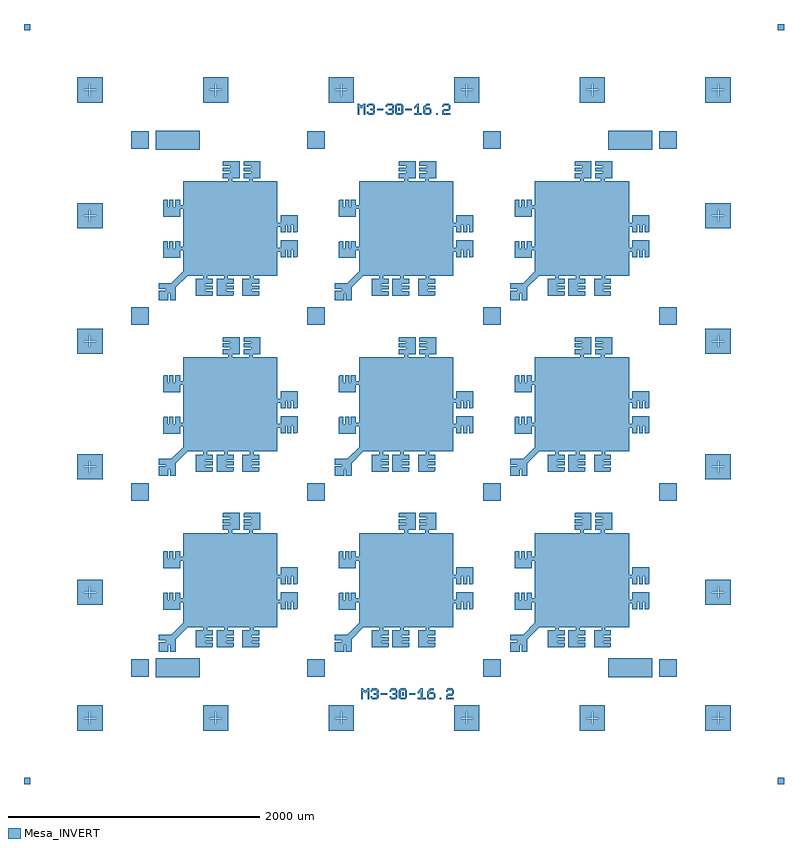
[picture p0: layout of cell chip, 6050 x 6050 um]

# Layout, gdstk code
import gdstk
lib = gdstk.Library(unit=1e-6, precision=1e-09)
def R(c, l, rs):  # rectangles x0, y0, x1, y1
    for r in rs: c.add(gdstk.rectangle(r[:2], r[2:], *l))
def P(c, l, *ps):  # polygons
    for p in ps: c.add(gdstk.Polygon(p, *l))
Mesa_INVERT = (9, 0)

text = lib.new_cell('TEXT')
R(text, Mesa_INVERT, [(625,0,637.5,12.5), (325,31.25,337.5,56.25), (156.25,37.5,206.25,50), (381.25,37.5,431.25,50)])
P(text, Mesa_INVERT, [(0,0),(0,87.5),(12.5,87.5),(25,75),(37.5,75),(50,87.5),(62.5,87.5),(62.5,0),(50,0),(50,62.5),(43.75,62.5),(31.25,50),(18.75,62.5),(12.5,62.5),(12.5,0)],
  [(87.5,0),(75,12.5),(75,25),(87.5,25),(87.5,18.75),(93.75,12.5),(118.75,12.5),(125,18.75),(125,31.25),(118.75,37.5),(100,37.5),(100,50),(118.75,50),(125,56.25),(125,68.75),(118.75,75),(93.75,75),(87.5,68.75),(87.5,62.5),(75,62.5),(75,75),(87.5,87.5),(125,87.5),(137.5,75),(137.5,50),(131.25,43.75),(137.5,37.5),(137.5,12.5),(125,0)],
  [(237.5,0),(225,12.5),(225,25),(237.5,25),(237.5,18.75),(243.75,12.5),(268.75,12.5),(275,18.75),(275,31.25),(268.75,37.5),(250,37.5),(250,50),(268.75,50),(275,56.25),(275,68.75),(268.75,75),(243.75,75),(237.5,68.75),(237.5,62.5),(225,62.5),(225,75),(237.5,87.5),(275,87.5),(287.5,75),(287.5,50),(281.25,43.75),(287.5,37.5),(287.5,12.5),(275,0)],
  [(312.5,0),(300,12.5),(300,75),(312.5,87.5),(350,87.5),(362.5,75),(318.75,75),(312.5,68.75),(312.5,18.75),(318.75,12.5),(343.75,12.5),(350,18.75),(350,68.75),(343.75,75),(362.5,75),(362.5,12.5),(350,0)],
  [(450,0),(450,12.5),(475,12.5),(475,62.5),(468.75,62.5),(456.25,50),(450,50),(450,62.5),(475,87.5),(487.5,87.5),(487.5,12.5),(512.5,12.5),(512.5,0)],
  [(537.5,0),(525,12.5),(525,62.5),(550,87.5),(575,87.5),(575,75),(556.25,75),(543.75,62.5),(543.75,56.25),(575,56.25),(587.5,43.75),(543.75,43.75),(537.5,37.5),(537.5,18.75),(543.75,12.5),(568.75,12.5),(575,18.75),(575,37.5),(568.75,43.75),(587.5,43.75),(587.5,12.5),(575,0)],
  [(675,0),(675,31.25),(687.5,43.75),(718.75,43.75),(725,50),(725,68.75),(718.75,75),(693.75,75),(687.5,68.75),(687.5,62.5),(675,62.5),(675,75),(687.5,87.5),(725,87.5),(737.5,75),(737.5,43.75),(725,31.25),(693.75,31.25),(687.5,25),(687.5,12.5),(737.5,12.5),(737.5,0)])

experimentalohmics_3 = lib.new_cell('ExperimentalOhmics$3')

test_mesas = lib.new_cell('test_mesas')
R(test_mesas, Mesa_INVERT, [(-175,-75,175,75)])

c_50umsquares = lib.new_cell('50umSquares')

chip = lib.new_cell('chip')
R(chip, Mesa_INVERT, [(-3025,-3025,-2975,-2975), (2975,-3025,3025,-2975), (-3025,2975,-2975,3025), (2975,2975,3025,3025)])
P(chip, Mesa_INVERT, [(-2600,-600),(-2600,-450),(-2504,-450),(-2504,-496),(-2550,-496),(-2550,-504),(-2504,-504),(-2504,-550),(-2496,-550),(-2496,-504),(-2450,-504),(-2450,-496),(-2496,-496),(-2496,-450),(-2600,-450),(-2600,-400),(-2400,-400),(-2400,-600)],
  [(2400,-2600),(2400,-2450),(2496,-2450),(2496,-2496),(2450,-2496),(2450,-2504),(2496,-2504),(2496,-2550),(2504,-2550),(2504,-2504),(2550,-2504),(2550,-2496),(2504,-2496),(2504,-2450),(2400,-2450),(2400,-2400),(2600,-2400),(2600,-2600)],
  [(-2600,-2600),(-2600,-2450),(-2504,-2450),(-2504,-2496),(-2550,-2496),(-2550,-2504),(-2504,-2504),(-2504,-2550),(-2496,-2550),(-2496,-2504),(-2450,-2504),(-2450,-2496),(-2496,-2496),(-2496,-2450),(-2600,-2450),(-2600,-2400),(-2400,-2400),(-2400,-2600)],
  [(-2600,-1600),(-2600,-1450),(-2504,-1450),(-2504,-1496),(-2550,-1496),(-2550,-1504),(-2504,-1504),(-2504,-1550),(-2496,-1550),(-2496,-1504),(-2450,-1504),(-2450,-1496),(-2496,-1496),(-2496,-1450),(-2600,-1450),(-2600,-1400),(-2400,-1400),(-2400,-1600)],
  [(2400,-1600),(2400,-1450),(2496,-1450),(2496,-1496),(2450,-1496),(2450,-1504),(2496,-1504),(2496,-1550),(2504,-1550),(2504,-1504),(2550,-1504),(2550,-1496),(2504,-1496),(2504,-1450),(2400,-1450),(2400,-1400),(2600,-1400),(2600,-1600)],
  [(2400,-600),(2400,-450),(2496,-450),(2496,-496),(2450,-496),(2450,-504),(2496,-504),(2496,-550),(2504,-550),(2504,-504),(2550,-504),(2550,-496),(2504,-496),(2504,-450),(2400,-450),(2400,-400),(2600,-400),(2600,-600)],
  [(-2600,400),(-2600,550),(-2504,550),(-2504,504),(-2550,504),(-2550,496),(-2504,496),(-2504,450),(-2496,450),(-2496,496),(-2450,496),(-2450,504),(-2496,504),(-2496,550),(-2600,550),(-2600,600),(-2400,600),(-2400,400)],
  [(2400,400),(2400,550),(2496,550),(2496,504),(2450,504),(2450,496),(2496,496),(2496,450),(2504,450),(2504,496),(2550,496),(2550,504),(2504,504),(2504,550),(2400,550),(2400,600),(2600,600),(2600,400)],
  [(-2600,1400),(-2600,1550),(-2504,1550),(-2504,1504),(-2550,1504),(-2550,1496),(-2504,1496),(-2504,1450),(-2496,1450),(-2496,1496),(-2450,1496),(-2450,1504),(-2496,1504),(-2496,1550),(-2600,1550),(-2600,1600),(-2400,1600),(-2400,1400)],
  [(2400,1400),(2400,1550),(2496,1550),(2496,1504),(2450,1504),(2450,1496),(2496,1496),(2496,1450),(2504,1450),(2504,1496),(2550,1496),(2550,1504),(2504,1504),(2504,1550),(2400,1550),(2400,1600),(2600,1600),(2600,1400)],
  [(-2600,2400),(-2600,2550),(-2504,2550),(-2504,2504),(-2550,2504),(-2550,2496),(-2504,2496),(-2504,2450),(-2496,2450),(-2496,2496),(-2450,2496),(-2450,2504),(-2496,2504),(-2496,2550),(-2600,2550),(-2600,2600),(-2400,2600),(-2400,2400)],
  [(2400,2400),(2400,2550),(2496,2550),(2496,2504),(2450,2504),(2450,2496),(2496,2496),(2496,2450),(2504,2450),(2504,2496),(2550,2496),(2550,2504),(2504,2504),(2504,2550),(2400,2550),(2400,2600),(2600,2600),(2600,2400)],
  [(-1600,-2600),(-1600,-2450),(-1504,-2450),(-1504,-2496),(-1550,-2496),(-1550,-2504),(-1504,-2504),(-1504,-2550),(-1496,-2550),(-1496,-2504),(-1450,-2504),(-1450,-2496),(-1496,-2496),(-1496,-2450),(-1600,-2450),(-1600,-2400),(-1400,-2400),(-1400,-2600)],
  [(-600,-2600),(-600,-2450),(-504,-2450),(-504,-2496),(-550,-2496),(-550,-2504),(-504,-2504),(-504,-2550),(-496,-2550),(-496,-2504),(-450,-2504),(-450,-2496),(-496,-2496),(-496,-2450),(-600,-2450),(-600,-2400),(-400,-2400),(-400,-2600)],
  [(400,-2600),(400,-2450),(496,-2450),(496,-2496),(450,-2496),(450,-2504),(496,-2504),(496,-2550),(504,-2550),(504,-2504),(550,-2504),(550,-2496),(504,-2496),(504,-2450),(400,-2450),(400,-2400),(600,-2400),(600,-2600)],
  [(1400,-2600),(1400,-2450),(1496,-2450),(1496,-2496),(1450,-2496),(1450,-2504),(1496,-2504),(1496,-2550),(1504,-2550),(1504,-2504),(1550,-2504),(1550,-2496),(1504,-2496),(1504,-2450),(1400,-2450),(1400,-2400),(1600,-2400),(1600,-2600)],
  [(-2600,2400),(-2600,2550),(-2504,2550),(-2504,2504),(-2550,2504),(-2550,2496),(-2504,2496),(-2504,2450),(-2496,2450),(-2496,2496),(-2450,2496),(-2450,2504),(-2496,2504),(-2496,2550),(-2600,2550),(-2600,2600),(-2400,2600),(-2400,2400)],
  [(-1600,2400),(-1600,2550),(-1504,2550),(-1504,2504),(-1550,2504),(-1550,2496),(-1504,2496),(-1504,2450),(-1496,2450),(-1496,2496),(-1450,2496),(-1450,2504),(-1496,2504),(-1496,2550),(-1600,2550),(-1600,2600),(-1400,2600),(-1400,2400)],
  [(-600,2400),(-600,2550),(-504,2550),(-504,2504),(-550,2504),(-550,2496),(-504,2496),(-504,2450),(-496,2450),(-496,2496),(-450,2496),(-450,2504),(-496,2504),(-496,2550),(-600,2550),(-600,2600),(-400,2600),(-400,2400)],
  [(400,2400),(400,2550),(496,2550),(496,2504),(450,2504),(450,2496),(496,2496),(496,2450),(504,2450),(504,2496),(550,2496),(550,2504),(504,2504),(504,2550),(400,2550),(400,2600),(600,2600),(600,2400)],
  [(1400,2400),(1400,2550),(1496,2550),(1496,2504),(1450,2504),(1450,2496),(1496,2496),(1496,2450),(1504,2450),(1504,2496),(1550,2496),(1550,2504),(1504,2504),(1504,2550),(1400,2550),(1400,2600),(1600,2600),(1600,2400)],
  [(-770,-2170),(-770,-2050),(-700.375,-2050),(-700.375,-2098),(-748.375,-2098),(-748.375,-2102),(-700.375,-2102),(-700.375,-2150),(-696.375,-2150),(-696.375,-2102),(-648.375,-2102),(-648.375,-2098),(-696.375,-2098),(-696.375,-2050),(-770,-2050),(-770,-2030),(-630,-2030),(-630,-2170)],
  [(-2170,-2170),(-2170,-2050),(-2100.375,-2050),(-2100.375,-2098),(-2148.375,-2098),(-2148.375,-2102),(-2100.375,-2102),(-2100.375,-2150),(-2096.375,-2150),(-2096.375,-2102),(-2048.375,-2102),(-2048.375,-2098),(-2096.375,-2098),(-2096.375,-2050),(-2170,-2050),(-2170,-2030),(-2030,-2030),(-2030,-2170)],
  [(630,-2170),(630,-2050),(699.625,-2050),(699.625,-2098),(651.625,-2098),(651.625,-2102),(699.625,-2102),(699.625,-2150),(703.625,-2150),(703.625,-2102),(751.625,-2102),(751.625,-2098),(703.625,-2098),(703.625,-2050),(630,-2050),(630,-2030),(770,-2030),(770,-2170)],
  [(2030,-2170),(2030,-2050),(2099.625,-2050),(2099.625,-2098),(2051.625,-2098),(2051.625,-2102),(2099.625,-2102),(2099.625,-2150),(2103.625,-2150),(2103.625,-2102),(2151.625,-2102),(2151.625,-2098),(2103.625,-2098),(2103.625,-2050),(2030,-2050),(2030,-2030),(2170,-2030),(2170,-2170)],
  [(-2170,-770),(-2170,-650),(-2100.375,-650),(-2100.375,-698),(-2148.375,-698),(-2148.375,-702),(-2100.375,-702),(-2100.375,-750),(-2096.375,-750),(-2096.375,-702),(-2048.375,-702),(-2048.375,-698),(-2096.375,-698),(-2096.375,-650),(-2170,-650),(-2170,-630),(-2030,-630),(-2030,-770)],
  [(-770,-770),(-770,-650),(-700.375,-650),(-700.375,-698),(-748.375,-698),(-748.375,-702),(-700.375,-702),(-700.375,-750),(-696.375,-750),(-696.375,-702),(-648.375,-702),(-648.375,-698),(-696.375,-698),(-696.375,-650),(-770,-650),(-770,-630),(-630,-630),(-630,-770)],
  [(630,-770),(630,-650),(699.625,-650),(699.625,-698),(651.625,-698),(651.625,-702),(699.625,-702),(699.625,-750),(703.625,-750),(703.625,-702),(751.625,-702),(751.625,-698),(703.625,-698),(703.625,-650),(630,-650),(630,-630),(770,-630),(770,-770)],
  [(2030,-770),(2030,-650),(2099.625,-650),(2099.625,-698),(2051.625,-698),(2051.625,-702),(2099.625,-702),(2099.625,-750),(2103.625,-750),(2103.625,-702),(2151.625,-702),(2151.625,-698),(2103.625,-698),(2103.625,-650),(2030,-650),(2030,-630),(2170,-630),(2170,-770)],
  [(-2170,630),(-2170,750),(-2100.375,750),(-2100.375,702),(-2148.375,702),(-2148.375,698),(-2100.375,698),(-2100.375,650),(-2096.375,650),(-2096.375,698),(-2048.375,698),(-2048.375,702),(-2096.375,702),(-2096.375,750),(-2170,750),(-2170,770),(-2030,770),(-2030,630)],
  [(-770,630),(-770,750),(-700.375,750),(-700.375,702),(-748.375,702),(-748.375,698),(-700.375,698),(-700.375,650),(-696.375,650),(-696.375,698),(-648.375,698),(-648.375,702),(-696.375,702),(-696.375,750),(-770,750),(-770,770),(-630,770),(-630,630)],
  [(630,630),(630,750),(699.625,750),(699.625,702),(651.625,702),(651.625,698),(699.625,698),(699.625,650),(703.625,650),(703.625,698),(751.625,698),(751.625,702),(703.625,702),(703.625,750),(630,750),(630,770),(770,770),(770,630)],
  [(2030,630),(2030,750),(2099.625,750),(2099.625,702),(2051.625,702),(2051.625,698),(2099.625,698),(2099.625,650),(2103.625,650),(2103.625,698),(2151.625,698),(2151.625,702),(2103.625,702),(2103.625,750),(2030,750),(2030,770),(2170,770),(2170,630)],
  [(-2170,2030),(-2170,2150),(-2100.375,2150),(-2100.375,2102),(-2148.375,2102),(-2148.375,2098),(-2100.375,2098),(-2100.375,2050),(-2096.375,2050),(-2096.375,2098),(-2048.375,2098),(-2048.375,2102),(-2096.375,2102),(-2096.375,2150),(-2170,2150),(-2170,2170),(-2030,2170),(-2030,2030)],
  [(-770,2030),(-770,2150),(-700.375,2150),(-700.375,2102),(-748.375,2102),(-748.375,2098),(-700.375,2098),(-700.375,2050),(-696.375,2050),(-696.375,2098),(-648.375,2098),(-648.375,2102),(-696.375,2102),(-696.375,2150),(-770,2150),(-770,2170),(-630,2170),(-630,2030)],
  [(630,2030),(630,2150),(699.625,2150),(699.625,2102),(651.625,2102),(651.625,2098),(699.625,2098),(699.625,2050),(703.625,2050),(703.625,2098),(751.625,2098),(751.625,2102),(703.625,2102),(703.625,2150),(630,2150),(630,2170),(770,2170),(770,2030)],
  [(2030,2030),(2030,2150),(2099.625,2150),(2099.625,2102),(2051.625,2102),(2051.625,2098),(2099.625,2098),(2099.625,2050),(2103.625,2050),(2103.625,2098),(2151.625,2098),(2151.625,2102),(2103.625,2102),(2103.625,2150),(2030,2150),(2030,2170),(2170,2170),(2170,2030)],
  [(-1952.5,-1972.5),(-1952.5,-1897.5),(-1897.5,-1897.5),(-1897.5,-1882.5),(-1952.5,-1882.5),(-1952.5,-1837.5),(-1852.5,-1837.5),(-1757.5,-1742.5),(-1757.5,-1577.5),(-1782.5,-1577.5),(-1782.5,-1637.5),(-1917.5,-1637.5),(-1917.5,-1507.5),(-1912.5,-1502.5),(-1882.5,-1502.5),(-1882.5,-1562.5),(-1867.5,-1562.5),(-1867.5,-1502.5),(-1837.5,-1502.5),(-1837.5,-1562.5),(-1822.5,-1562.5),(-1822.5,-1502.5),(-1782.5,-1502.5),(-1782.5,-1547.5),(-1757.5,-1547.5),(-1757.5,-1247.5),(-1782.5,-1247.5),(-1782.5,-1307.5),(-1917.5,-1307.5),(-1917.5,-1177.5),(-1912.5,-1172.5),(-1882.5,-1172.5),(-1882.5,-1232.5),(-1867.5,-1232.5),(-1867.5,-1172.5),(-1837.5,-1172.5),(-1837.5,-1232.5),(-1822.5,-1232.5),(-1822.5,-1172.5),(-1782.5,-1172.5),(-1782.5,-1217.5),(-1757.5,-1217.5),(-1757.5,-1027.5),(-1397.5,-1027.5),(-1397.5,-1002.5),(-1442.5,-1002.5),(-1442.5,-962.5),(-1382.5,-962.5),(-1382.5,-947.5),(-1442.5,-947.5),(-1442.5,-917.5),(-1382.5,-917.5),(-1382.5,-902.5),(-1442.5,-902.5),(-1442.5,-872.5),(-1437.5,-867.5),(-1307.5,-867.5),(-1307.5,-1002.5),(-1367.5,-1002.5),(-1367.5,-1027.5),(-1232.5,-1027.5),(-1232.5,-1002.5),(-1277.5,-1002.5),(-1277.5,-962.5),(-1217.5,-962.5),(-1217.5,-947.5),(-1277.5,-947.5),(-1277.5,-917.5),(-1217.5,-917.5),(-1217.5,-902.5),(-1277.5,-902.5),(-1277.5,-872.5),(-1272.5,-867.5),(-1142.5,-867.5),(-1142.5,-1002.5),(-1202.5,-1002.5),(-1202.5,-1027.5),(-1007.5,-1027.5),(-1007.5,-1358.092),(-982.5,-1358.092),(-982.5,-1298.092),(-847.5,-1298.092),(-847.5,-1428.092),(-852.5,-1433.092),(-882.5,-1433.092),(-882.5,-1373.092),(-897.5,-1373.092),(-897.5,-1433.092),(-927.5,-1433.092),(-927.5,-1373.092),(-942.5,-1373.092),(-942.5,-1433.092),(-982.5,-1433.092),(-982.5,-1388.092),(-1007.5,-1388.092),(-1007.5,-1557.5),(-982.5,-1557.5),(-982.5,-1497.5),(-847.5,-1497.5),(-847.5,-1627.5),(-852.5,-1632.5),(-882.5,-1632.5),(-882.5,-1572.5),(-897.5,-1572.5),(-897.5,-1632.5),(-927.5,-1632.5),(-927.5,-1572.5),(-942.5,-1572.5),(-942.5,-1632.5),(-982.5,-1632.5),(-982.5,-1587.5),(-1007.5,-1587.5),(-1007.5,-1777.5),(-1197.5,-1777.5),(-1197.5,-1802.5),(-1152.5,-1802.5),(-1152.5,-1842.5),(-1212.5,-1842.5),(-1212.5,-1857.5),(-1152.5,-1857.5),(-1152.5,-1887.5),(-1212.5,-1887.5),(-1212.5,-1902.5),(-1152.5,-1902.5),(-1152.5,-1932.5),(-1157.5,-1937.5),(-1287.5,-1937.5),(-1287.5,-1802.5),(-1227.5,-1802.5),(-1227.5,-1777.5),(-1401.637,-1777.5),(-1401.637,-1802.5),(-1356.637,-1802.5),(-1356.637,-1842.5),(-1416.637,-1842.5),(-1416.637,-1857.5),(-1356.637,-1857.5),(-1356.637,-1887.5),(-1416.637,-1887.5),(-1416.637,-1902.5),(-1356.637,-1902.5),(-1356.637,-1932.5),(-1361.637,-1937.5),(-1491.637,-1937.5),(-1491.637,-1802.5),(-1431.637,-1802.5),(-1431.637,-1777.5),(-1566.637,-1777.5),(-1566.637,-1802.5),(-1521.637,-1802.5),(-1521.637,-1842.5),(-1581.637,-1842.5),(-1581.637,-1857.5),(-1521.637,-1857.5),(-1521.637,-1887.5),(-1581.637,-1887.5),(-1581.637,-1902.5),(-1521.637,-1902.5),(-1521.637,-1932.5),(-1526.637,-1937.5),(-1656.637,-1937.5),(-1656.637,-1802.5),(-1596.637,-1802.5),(-1596.637,-1777.5),(-1722.5,-1777.5),(-1817.5,-1872.5),(-1817.5,-1972.5),(-1862.5,-1972.5),(-1862.5,-1917.5),(-1877.5,-1917.5),(-1877.5,-1972.5)],
  [(-552.5,-1972.5),(-552.5,-1897.5),(-497.5,-1897.5),(-497.5,-1882.5),(-552.5,-1882.5),(-552.5,-1837.5),(-452.5,-1837.5),(-357.5,-1742.5),(-357.5,-1577.5),(-382.5,-1577.5),(-382.5,-1637.5),(-517.5,-1637.5),(-517.5,-1507.5),(-512.5,-1502.5),(-482.5,-1502.5),(-482.5,-1562.5),(-467.5,-1562.5),(-467.5,-1502.5),(-437.5,-1502.5),(-437.5,-1562.5),(-422.5,-1562.5),(-422.5,-1502.5),(-382.5,-1502.5),(-382.5,-1547.5),(-357.5,-1547.5),(-357.5,-1247.5),(-382.5,-1247.5),(-382.5,-1307.5),(-517.5,-1307.5),(-517.5,-1177.5),(-512.5,-1172.5),(-482.5,-1172.5),(-482.5,-1232.5),(-467.5,-1232.5),(-467.5,-1172.5),(-437.5,-1172.5),(-437.5,-1232.5),(-422.5,-1232.5),(-422.5,-1172.5),(-382.5,-1172.5),(-382.5,-1217.5),(-357.5,-1217.5),(-357.5,-1027.5),(2.5,-1027.5),(2.5,-1002.5),(-42.5,-1002.5),(-42.5,-962.5),(17.5,-962.5),(17.5,-947.5),(-42.5,-947.5),(-42.5,-917.5),(17.5,-917.5),(17.5,-902.5),(-42.5,-902.5),(-42.5,-872.5),(-37.5,-867.5),(92.5,-867.5),(92.5,-1002.5),(32.5,-1002.5),(32.5,-1027.5),(167.5,-1027.5),(167.5,-1002.5),(122.5,-1002.5),(122.5,-962.5),(182.5,-962.5),(182.5,-947.5),(122.5,-947.5),(122.5,-917.5),(182.5,-917.5),(182.5,-902.5),(122.5,-902.5),(122.5,-872.5),(127.5,-867.5),(257.5,-867.5),(257.5,-1002.5),(197.5,-1002.5),(197.5,-1027.5),(392.5,-1027.5),(392.5,-1358.092),(417.5,-1358.092),(417.5,-1298.092),(552.5,-1298.092),(552.5,-1428.092),(547.5,-1433.092),(517.5,-1433.092),(517.5,-1373.092),(502.5,-1373.092),(502.5,-1433.092),(472.5,-1433.092),(472.5,-1373.092),(457.5,-1373.092),(457.5,-1433.092),(417.5,-1433.092),(417.5,-1388.092),(392.5,-1388.092),(392.5,-1557.5),(417.5,-1557.5),(417.5,-1497.5),(552.5,-1497.5),(552.5,-1627.5),(547.5,-1632.5),(517.5,-1632.5),(517.5,-1572.5),(502.5,-1572.5),(502.5,-1632.5),(472.5,-1632.5),(472.5,-1572.5),(457.5,-1572.5),(457.5,-1632.5),(417.5,-1632.5),(417.5,-1587.5),(392.5,-1587.5),(392.5,-1777.5),(202.5,-1777.5),(202.5,-1802.5),(247.5,-1802.5),(247.5,-1842.5),(187.5,-1842.5),(187.5,-1857.5),(247.5,-1857.5),(247.5,-1887.5),(187.5,-1887.5),(187.5,-1902.5),(247.5,-1902.5),(247.5,-1932.5),(242.5,-1937.5),(112.5,-1937.5),(112.5,-1802.5),(172.5,-1802.5),(172.5,-1777.5),(-1.637,-1777.5),(-1.637,-1802.5),(43.363,-1802.5),(43.363,-1842.5),(-16.637,-1842.5),(-16.637,-1857.5),(43.363,-1857.5),(43.363,-1887.5),(-16.637,-1887.5),(-16.637,-1902.5),(43.363,-1902.5),(43.363,-1932.5),(38.363,-1937.5),(-91.637,-1937.5),(-91.637,-1802.5),(-31.637,-1802.5),(-31.637,-1777.5),(-166.637,-1777.5),(-166.637,-1802.5),(-121.637,-1802.5),(-121.637,-1842.5),(-181.637,-1842.5),(-181.637,-1857.5),(-121.637,-1857.5),(-121.637,-1887.5),(-181.637,-1887.5),(-181.637,-1902.5),(-121.637,-1902.5),(-121.637,-1932.5),(-126.637,-1937.5),(-256.637,-1937.5),(-256.637,-1802.5),(-196.637,-1802.5),(-196.637,-1777.5),(-322.5,-1777.5),(-417.5,-1872.5),(-417.5,-1972.5),(-462.5,-1972.5),(-462.5,-1917.5),(-477.5,-1917.5),(-477.5,-1972.5)],
  [(847.5,-1972.5),(847.5,-1897.5),(902.5,-1897.5),(902.5,-1882.5),(847.5,-1882.5),(847.5,-1837.5),(947.5,-1837.5),(1042.5,-1742.5),(1042.5,-1577.5),(1017.5,-1577.5),(1017.5,-1637.5),(882.5,-1637.5),(882.5,-1507.5),(887.5,-1502.5),(917.5,-1502.5),(917.5,-1562.5),(932.5,-1562.5),(932.5,-1502.5),(962.5,-1502.5),(962.5,-1562.5),(977.5,-1562.5),(977.5,-1502.5),(1017.5,-1502.5),(1017.5,-1547.5),(1042.5,-1547.5),(1042.5,-1247.5),(1017.5,-1247.5),(1017.5,-1307.5),(882.5,-1307.5),(882.5,-1177.5),(887.5,-1172.5),(917.5,-1172.5),(917.5,-1232.5),(932.5,-1232.5),(932.5,-1172.5),(962.5,-1172.5),(962.5,-1232.5),(977.5,-1232.5),(977.5,-1172.5),(1017.5,-1172.5),(1017.5,-1217.5),(1042.5,-1217.5),(1042.5,-1027.5),(1402.5,-1027.5),(1402.5,-1002.5),(1357.5,-1002.5),(1357.5,-962.5),(1417.5,-962.5),(1417.5,-947.5),(1357.5,-947.5),(1357.5,-917.5),(1417.5,-917.5),(1417.5,-902.5),(1357.5,-902.5),(1357.5,-872.5),(1362.5,-867.5),(1492.5,-867.5),(1492.5,-1002.5),(1432.5,-1002.5),(1432.5,-1027.5),(1567.5,-1027.5),(1567.5,-1002.5),(1522.5,-1002.5),(1522.5,-962.5),(1582.5,-962.5),(1582.5,-947.5),(1522.5,-947.5),(1522.5,-917.5),(1582.5,-917.5),(1582.5,-902.5),(1522.5,-902.5),(1522.5,-872.5),(1527.5,-867.5),(1657.5,-867.5),(1657.5,-1002.5),(1597.5,-1002.5),(1597.5,-1027.5),(1792.5,-1027.5),(1792.5,-1358.092),(1817.5,-1358.092),(1817.5,-1298.092),(1952.5,-1298.092),(1952.5,-1428.092),(1947.5,-1433.092),(1917.5,-1433.092),(1917.5,-1373.092),(1902.5,-1373.092),(1902.5,-1433.092),(1872.5,-1433.092),(1872.5,-1373.092),(1857.5,-1373.092),(1857.5,-1433.092),(1817.5,-1433.092),(1817.5,-1388.092),(1792.5,-1388.092),(1792.5,-1557.5),(1817.5,-1557.5),(1817.5,-1497.5),(1952.5,-1497.5),(1952.5,-1627.5),(1947.5,-1632.5),(1917.5,-1632.5),(1917.5,-1572.5),(1902.5,-1572.5),(1902.5,-1632.5),(1872.5,-1632.5),(1872.5,-1572.5),(1857.5,-1572.5),(1857.5,-1632.5),(1817.5,-1632.5),(1817.5,-1587.5),(1792.5,-1587.5),(1792.5,-1777.5),(1602.5,-1777.5),(1602.5,-1802.5),(1647.5,-1802.5),(1647.5,-1842.5),(1587.5,-1842.5),(1587.5,-1857.5),(1647.5,-1857.5),(1647.5,-1887.5),(1587.5,-1887.5),(1587.5,-1902.5),(1647.5,-1902.5),(1647.5,-1932.5),(1642.5,-1937.5),(1512.5,-1937.5),(1512.5,-1802.5),(1572.5,-1802.5),(1572.5,-1777.5),(1398.363,-1777.5),(1398.363,-1802.5),(1443.363,-1802.5),(1443.363,-1842.5),(1383.363,-1842.5),(1383.363,-1857.5),(1443.363,-1857.5),(1443.363,-1887.5),(1383.363,-1887.5),(1383.363,-1902.5),(1443.363,-1902.5),(1443.363,-1932.5),(1438.363,-1937.5),(1308.363,-1937.5),(1308.363,-1802.5),(1368.363,-1802.5),(1368.363,-1777.5),(1233.363,-1777.5),(1233.363,-1802.5),(1278.363,-1802.5),(1278.363,-1842.5),(1218.363,-1842.5),(1218.363,-1857.5),(1278.363,-1857.5),(1278.363,-1887.5),(1218.363,-1887.5),(1218.363,-1902.5),(1278.363,-1902.5),(1278.363,-1932.5),(1273.363,-1937.5),(1143.363,-1937.5),(1143.363,-1802.5),(1203.363,-1802.5),(1203.363,-1777.5),(1077.5,-1777.5),(982.5,-1872.5),(982.5,-1972.5),(937.5,-1972.5),(937.5,-1917.5),(922.5,-1917.5),(922.5,-1972.5)],
  [(-1952.5,-572.5),(-1952.5,-497.5),(-1897.5,-497.5),(-1897.5,-482.5),(-1952.5,-482.5),(-1952.5,-437.5),(-1852.5,-437.5),(-1757.5,-342.5),(-1757.5,-177.5),(-1782.5,-177.5),(-1782.5,-237.5),(-1917.5,-237.5),(-1917.5,-107.5),(-1912.5,-102.5),(-1882.5,-102.5),(-1882.5,-162.5),(-1867.5,-162.5),(-1867.5,-102.5),(-1837.5,-102.5),(-1837.5,-162.5),(-1822.5,-162.5),(-1822.5,-102.5),(-1782.5,-102.5),(-1782.5,-147.5),(-1757.5,-147.5),(-1757.5,152.5),(-1782.5,152.5),(-1782.5,92.5),(-1917.5,92.5),(-1917.5,222.5),(-1912.5,227.5),(-1882.5,227.5),(-1882.5,167.5),(-1867.5,167.5),(-1867.5,227.5),(-1837.5,227.5),(-1837.5,167.5),(-1822.5,167.5),(-1822.5,227.5),(-1782.5,227.5),(-1782.5,182.5),(-1757.5,182.5),(-1757.5,372.5),(-1397.5,372.5),(-1397.5,397.5),(-1442.5,397.5),(-1442.5,437.5),(-1382.5,437.5),(-1382.5,452.5),(-1442.5,452.5),(-1442.5,482.5),(-1382.5,482.5),(-1382.5,497.5),(-1442.5,497.5),(-1442.5,527.5),(-1437.5,532.5),(-1307.5,532.5),(-1307.5,397.5),(-1367.5,397.5),(-1367.5,372.5),(-1232.5,372.5),(-1232.5,397.5),(-1277.5,397.5),(-1277.5,437.5),(-1217.5,437.5),(-1217.5,452.5),(-1277.5,452.5),(-1277.5,482.5),(-1217.5,482.5),(-1217.5,497.5),(-1277.5,497.5),(-1277.5,527.5),(-1272.5,532.5),(-1142.5,532.5),(-1142.5,397.5),(-1202.5,397.5),(-1202.5,372.5),(-1007.5,372.5),(-1007.5,41.908),(-982.5,41.908),(-982.5,101.908),(-847.5,101.908),(-847.5,-28.092),(-852.5,-33.092),(-882.5,-33.092),(-882.5,26.908),(-897.5,26.908),(-897.5,-33.092),(-927.5,-33.092),(-927.5,26.908),(-942.5,26.908),(-942.5,-33.092),(-982.5,-33.092),(-982.5,11.908),(-1007.5,11.908),(-1007.5,-157.5),(-982.5,-157.5),(-982.5,-97.5),(-847.5,-97.5),(-847.5,-227.5),(-852.5,-232.5),(-882.5,-232.5),(-882.5,-172.5),(-897.5,-172.5),(-897.5,-232.5),(-927.5,-232.5),(-927.5,-172.5),(-942.5,-172.5),(-942.5,-232.5),(-982.5,-232.5),(-982.5,-187.5),(-1007.5,-187.5),(-1007.5,-377.5),(-1197.5,-377.5),(-1197.5,-402.5),(-1152.5,-402.5),(-1152.5,-442.5),(-1212.5,-442.5),(-1212.5,-457.5),(-1152.5,-457.5),(-1152.5,-487.5),(-1212.5,-487.5),(-1212.5,-502.5),(-1152.5,-502.5),(-1152.5,-532.5),(-1157.5,-537.5),(-1287.5,-537.5),(-1287.5,-402.5),(-1227.5,-402.5),(-1227.5,-377.5),(-1401.637,-377.5),(-1401.637,-402.5),(-1356.637,-402.5),(-1356.637,-442.5),(-1416.637,-442.5),(-1416.637,-457.5),(-1356.637,-457.5),(-1356.637,-487.5),(-1416.637,-487.5),(-1416.637,-502.5),(-1356.637,-502.5),(-1356.637,-532.5),(-1361.637,-537.5),(-1491.637,-537.5),(-1491.637,-402.5),(-1431.637,-402.5),(-1431.637,-377.5),(-1566.637,-377.5),(-1566.637,-402.5),(-1521.637,-402.5),(-1521.637,-442.5),(-1581.637,-442.5),(-1581.637,-457.5),(-1521.637,-457.5),(-1521.637,-487.5),(-1581.637,-487.5),(-1581.637,-502.5),(-1521.637,-502.5),(-1521.637,-532.5),(-1526.637,-537.5),(-1656.637,-537.5),(-1656.637,-402.5),(-1596.637,-402.5),(-1596.637,-377.5),(-1722.5,-377.5),(-1817.5,-472.5),(-1817.5,-572.5),(-1862.5,-572.5),(-1862.5,-517.5),(-1877.5,-517.5),(-1877.5,-572.5)],
  [(-552.5,-572.5),(-552.5,-497.5),(-497.5,-497.5),(-497.5,-482.5),(-552.5,-482.5),(-552.5,-437.5),(-452.5,-437.5),(-357.5,-342.5),(-357.5,-177.5),(-382.5,-177.5),(-382.5,-237.5),(-517.5,-237.5),(-517.5,-107.5),(-512.5,-102.5),(-482.5,-102.5),(-482.5,-162.5),(-467.5,-162.5),(-467.5,-102.5),(-437.5,-102.5),(-437.5,-162.5),(-422.5,-162.5),(-422.5,-102.5),(-382.5,-102.5),(-382.5,-147.5),(-357.5,-147.5),(-357.5,152.5),(-382.5,152.5),(-382.5,92.5),(-517.5,92.5),(-517.5,222.5),(-512.5,227.5),(-482.5,227.5),(-482.5,167.5),(-467.5,167.5),(-467.5,227.5),(-437.5,227.5),(-437.5,167.5),(-422.5,167.5),(-422.5,227.5),(-382.5,227.5),(-382.5,182.5),(-357.5,182.5),(-357.5,372.5),(2.5,372.5),(2.5,397.5),(-42.5,397.5),(-42.5,437.5),(17.5,437.5),(17.5,452.5),(-42.5,452.5),(-42.5,482.5),(17.5,482.5),(17.5,497.5),(-42.5,497.5),(-42.5,527.5),(-37.5,532.5),(92.5,532.5),(92.5,397.5),(32.5,397.5),(32.5,372.5),(167.5,372.5),(167.5,397.5),(122.5,397.5),(122.5,437.5),(182.5,437.5),(182.5,452.5),(122.5,452.5),(122.5,482.5),(182.5,482.5),(182.5,497.5),(122.5,497.5),(122.5,527.5),(127.5,532.5),(257.5,532.5),(257.5,397.5),(197.5,397.5),(197.5,372.5),(392.5,372.5),(392.5,41.908),(417.5,41.908),(417.5,101.908),(552.5,101.908),(552.5,-28.092),(547.5,-33.092),(517.5,-33.092),(517.5,26.908),(502.5,26.908),(502.5,-33.092),(472.5,-33.092),(472.5,26.908),(457.5,26.908),(457.5,-33.092),(417.5,-33.092),(417.5,11.908),(392.5,11.908),(392.5,-157.5),(417.5,-157.5),(417.5,-97.5),(552.5,-97.5),(552.5,-227.5),(547.5,-232.5),(517.5,-232.5),(517.5,-172.5),(502.5,-172.5),(502.5,-232.5),(472.5,-232.5),(472.5,-172.5),(457.5,-172.5),(457.5,-232.5),(417.5,-232.5),(417.5,-187.5),(392.5,-187.5),(392.5,-377.5),(202.5,-377.5),(202.5,-402.5),(247.5,-402.5),(247.5,-442.5),(187.5,-442.5),(187.5,-457.5),(247.5,-457.5),(247.5,-487.5),(187.5,-487.5),(187.5,-502.5),(247.5,-502.5),(247.5,-532.5),(242.5,-537.5),(112.5,-537.5),(112.5,-402.5),(172.5,-402.5),(172.5,-377.5),(-1.637,-377.5),(-1.637,-402.5),(43.363,-402.5),(43.363,-442.5),(-16.637,-442.5),(-16.637,-457.5),(43.363,-457.5),(43.363,-487.5),(-16.637,-487.5),(-16.637,-502.5),(43.363,-502.5),(43.363,-532.5),(38.363,-537.5),(-91.637,-537.5),(-91.637,-402.5),(-31.637,-402.5),(-31.637,-377.5),(-166.637,-377.5),(-166.637,-402.5),(-121.637,-402.5),(-121.637,-442.5),(-181.637,-442.5),(-181.637,-457.5),(-121.637,-457.5),(-121.637,-487.5),(-181.637,-487.5),(-181.637,-502.5),(-121.637,-502.5),(-121.637,-532.5),(-126.637,-537.5),(-256.637,-537.5),(-256.637,-402.5),(-196.637,-402.5),(-196.637,-377.5),(-322.5,-377.5),(-417.5,-472.5),(-417.5,-572.5),(-462.5,-572.5),(-462.5,-517.5),(-477.5,-517.5),(-477.5,-572.5)],
  [(847.5,-572.5),(847.5,-497.5),(902.5,-497.5),(902.5,-482.5),(847.5,-482.5),(847.5,-437.5),(947.5,-437.5),(1042.5,-342.5),(1042.5,-177.5),(1017.5,-177.5),(1017.5,-237.5),(882.5,-237.5),(882.5,-107.5),(887.5,-102.5),(917.5,-102.5),(917.5,-162.5),(932.5,-162.5),(932.5,-102.5),(962.5,-102.5),(962.5,-162.5),(977.5,-162.5),(977.5,-102.5),(1017.5,-102.5),(1017.5,-147.5),(1042.5,-147.5),(1042.5,152.5),(1017.5,152.5),(1017.5,92.5),(882.5,92.5),(882.5,222.5),(887.5,227.5),(917.5,227.5),(917.5,167.5),(932.5,167.5),(932.5,227.5),(962.5,227.5),(962.5,167.5),(977.5,167.5),(977.5,227.5),(1017.5,227.5),(1017.5,182.5),(1042.5,182.5),(1042.5,372.5),(1402.5,372.5),(1402.5,397.5),(1357.5,397.5),(1357.5,437.5),(1417.5,437.5),(1417.5,452.5),(1357.5,452.5),(1357.5,482.5),(1417.5,482.5),(1417.5,497.5),(1357.5,497.5),(1357.5,527.5),(1362.5,532.5),(1492.5,532.5),(1492.5,397.5),(1432.5,397.5),(1432.5,372.5),(1567.5,372.5),(1567.5,397.5),(1522.5,397.5),(1522.5,437.5),(1582.5,437.5),(1582.5,452.5),(1522.5,452.5),(1522.5,482.5),(1582.5,482.5),(1582.5,497.5),(1522.5,497.5),(1522.5,527.5),(1527.5,532.5),(1657.5,532.5),(1657.5,397.5),(1597.5,397.5),(1597.5,372.5),(1792.5,372.5),(1792.5,41.908),(1817.5,41.908),(1817.5,101.908),(1952.5,101.908),(1952.5,-28.092),(1947.5,-33.092),(1917.5,-33.092),(1917.5,26.908),(1902.5,26.908),(1902.5,-33.092),(1872.5,-33.092),(1872.5,26.908),(1857.5,26.908),(1857.5,-33.092),(1817.5,-33.092),(1817.5,11.908),(1792.5,11.908),(1792.5,-157.5),(1817.5,-157.5),(1817.5,-97.5),(1952.5,-97.5),(1952.5,-227.5),(1947.5,-232.5),(1917.5,-232.5),(1917.5,-172.5),(1902.5,-172.5),(1902.5,-232.5),(1872.5,-232.5),(1872.5,-172.5),(1857.5,-172.5),(1857.5,-232.5),(1817.5,-232.5),(1817.5,-187.5),(1792.5,-187.5),(1792.5,-377.5),(1602.5,-377.5),(1602.5,-402.5),(1647.5,-402.5),(1647.5,-442.5),(1587.5,-442.5),(1587.5,-457.5),(1647.5,-457.5),(1647.5,-487.5),(1587.5,-487.5),(1587.5,-502.5),(1647.5,-502.5),(1647.5,-532.5),(1642.5,-537.5),(1512.5,-537.5),(1512.5,-402.5),(1572.5,-402.5),(1572.5,-377.5),(1398.363,-377.5),(1398.363,-402.5),(1443.363,-402.5),(1443.363,-442.5),(1383.363,-442.5),(1383.363,-457.5),(1443.363,-457.5),(1443.363,-487.5),(1383.363,-487.5),(1383.363,-502.5),(1443.363,-502.5),(1443.363,-532.5),(1438.363,-537.5),(1308.363,-537.5),(1308.363,-402.5),(1368.363,-402.5),(1368.363,-377.5),(1233.363,-377.5),(1233.363,-402.5),(1278.363,-402.5),(1278.363,-442.5),(1218.363,-442.5),(1218.363,-457.5),(1278.363,-457.5),(1278.363,-487.5),(1218.363,-487.5),(1218.363,-502.5),(1278.363,-502.5),(1278.363,-532.5),(1273.363,-537.5),(1143.363,-537.5),(1143.363,-402.5),(1203.363,-402.5),(1203.363,-377.5),(1077.5,-377.5),(982.5,-472.5),(982.5,-572.5),(937.5,-572.5),(937.5,-517.5),(922.5,-517.5),(922.5,-572.5)],
  [(-1952.5,827.5),(-1952.5,902.5),(-1897.5,902.5),(-1897.5,917.5),(-1952.5,917.5),(-1952.5,962.5),(-1852.5,962.5),(-1757.5,1057.5),(-1757.5,1222.5),(-1782.5,1222.5),(-1782.5,1162.5),(-1917.5,1162.5),(-1917.5,1292.5),(-1912.5,1297.5),(-1882.5,1297.5),(-1882.5,1237.5),(-1867.5,1237.5),(-1867.5,1297.5),(-1837.5,1297.5),(-1837.5,1237.5),(-1822.5,1237.5),(-1822.5,1297.5),(-1782.5,1297.5),(-1782.5,1252.5),(-1757.5,1252.5),(-1757.5,1552.5),(-1782.5,1552.5),(-1782.5,1492.5),(-1917.5,1492.5),(-1917.5,1622.5),(-1912.5,1627.5),(-1882.5,1627.5),(-1882.5,1567.5),(-1867.5,1567.5),(-1867.5,1627.5),(-1837.5,1627.5),(-1837.5,1567.5),(-1822.5,1567.5),(-1822.5,1627.5),(-1782.5,1627.5),(-1782.5,1582.5),(-1757.5,1582.5),(-1757.5,1772.5),(-1397.5,1772.5),(-1397.5,1797.5),(-1442.5,1797.5),(-1442.5,1837.5),(-1382.5,1837.5),(-1382.5,1852.5),(-1442.5,1852.5),(-1442.5,1882.5),(-1382.5,1882.5),(-1382.5,1897.5),(-1442.5,1897.5),(-1442.5,1927.5),(-1437.5,1932.5),(-1307.5,1932.5),(-1307.5,1797.5),(-1367.5,1797.5),(-1367.5,1772.5),(-1232.5,1772.5),(-1232.5,1797.5),(-1277.5,1797.5),(-1277.5,1837.5),(-1217.5,1837.5),(-1217.5,1852.5),(-1277.5,1852.5),(-1277.5,1882.5),(-1217.5,1882.5),(-1217.5,1897.5),(-1277.5,1897.5),(-1277.5,1927.5),(-1272.5,1932.5),(-1142.5,1932.5),(-1142.5,1797.5),(-1202.5,1797.5),(-1202.5,1772.5),(-1007.5,1772.5),(-1007.5,1441.908),(-982.5,1441.908),(-982.5,1501.908),(-847.5,1501.908),(-847.5,1371.908),(-852.5,1366.908),(-882.5,1366.908),(-882.5,1426.908),(-897.5,1426.908),(-897.5,1366.908),(-927.5,1366.908),(-927.5,1426.908),(-942.5,1426.908),(-942.5,1366.908),(-982.5,1366.908),(-982.5,1411.908),(-1007.5,1411.908),(-1007.5,1242.5),(-982.5,1242.5),(-982.5,1302.5),(-847.5,1302.5),(-847.5,1172.5),(-852.5,1167.5),(-882.5,1167.5),(-882.5,1227.5),(-897.5,1227.5),(-897.5,1167.5),(-927.5,1167.5),(-927.5,1227.5),(-942.5,1227.5),(-942.5,1167.5),(-982.5,1167.5),(-982.5,1212.5),(-1007.5,1212.5),(-1007.5,1022.5),(-1197.5,1022.5),(-1197.5,997.5),(-1152.5,997.5),(-1152.5,957.5),(-1212.5,957.5),(-1212.5,942.5),(-1152.5,942.5),(-1152.5,912.5),(-1212.5,912.5),(-1212.5,897.5),(-1152.5,897.5),(-1152.5,867.5),(-1157.5,862.5),(-1287.5,862.5),(-1287.5,997.5),(-1227.5,997.5),(-1227.5,1022.5),(-1401.637,1022.5),(-1401.637,997.5),(-1356.637,997.5),(-1356.637,957.5),(-1416.637,957.5),(-1416.637,942.5),(-1356.637,942.5),(-1356.637,912.5),(-1416.637,912.5),(-1416.637,897.5),(-1356.637,897.5),(-1356.637,867.5),(-1361.637,862.5),(-1491.637,862.5),(-1491.637,997.5),(-1431.637,997.5),(-1431.637,1022.5),(-1566.637,1022.5),(-1566.637,997.5),(-1521.637,997.5),(-1521.637,957.5),(-1581.637,957.5),(-1581.637,942.5),(-1521.637,942.5),(-1521.637,912.5),(-1581.637,912.5),(-1581.637,897.5),(-1521.637,897.5),(-1521.637,867.5),(-1526.637,862.5),(-1656.637,862.5),(-1656.637,997.5),(-1596.637,997.5),(-1596.637,1022.5),(-1722.5,1022.5),(-1817.5,927.5),(-1817.5,827.5),(-1862.5,827.5),(-1862.5,882.5),(-1877.5,882.5),(-1877.5,827.5)],
  [(-552.5,827.5),(-552.5,902.5),(-497.5,902.5),(-497.5,917.5),(-552.5,917.5),(-552.5,962.5),(-452.5,962.5),(-357.5,1057.5),(-357.5,1222.5),(-382.5,1222.5),(-382.5,1162.5),(-517.5,1162.5),(-517.5,1292.5),(-512.5,1297.5),(-482.5,1297.5),(-482.5,1237.5),(-467.5,1237.5),(-467.5,1297.5),(-437.5,1297.5),(-437.5,1237.5),(-422.5,1237.5),(-422.5,1297.5),(-382.5,1297.5),(-382.5,1252.5),(-357.5,1252.5),(-357.5,1552.5),(-382.5,1552.5),(-382.5,1492.5),(-517.5,1492.5),(-517.5,1622.5),(-512.5,1627.5),(-482.5,1627.5),(-482.5,1567.5),(-467.5,1567.5),(-467.5,1627.5),(-437.5,1627.5),(-437.5,1567.5),(-422.5,1567.5),(-422.5,1627.5),(-382.5,1627.5),(-382.5,1582.5),(-357.5,1582.5),(-357.5,1772.5),(2.5,1772.5),(2.5,1797.5),(-42.5,1797.5),(-42.5,1837.5),(17.5,1837.5),(17.5,1852.5),(-42.5,1852.5),(-42.5,1882.5),(17.5,1882.5),(17.5,1897.5),(-42.5,1897.5),(-42.5,1927.5),(-37.5,1932.5),(92.5,1932.5),(92.5,1797.5),(32.5,1797.5),(32.5,1772.5),(167.5,1772.5),(167.5,1797.5),(122.5,1797.5),(122.5,1837.5),(182.5,1837.5),(182.5,1852.5),(122.5,1852.5),(122.5,1882.5),(182.5,1882.5),(182.5,1897.5),(122.5,1897.5),(122.5,1927.5),(127.5,1932.5),(257.5,1932.5),(257.5,1797.5),(197.5,1797.5),(197.5,1772.5),(392.5,1772.5),(392.5,1441.908),(417.5,1441.908),(417.5,1501.908),(552.5,1501.908),(552.5,1371.908),(547.5,1366.908),(517.5,1366.908),(517.5,1426.908),(502.5,1426.908),(502.5,1366.908),(472.5,1366.908),(472.5,1426.908),(457.5,1426.908),(457.5,1366.908),(417.5,1366.908),(417.5,1411.908),(392.5,1411.908),(392.5,1242.5),(417.5,1242.5),(417.5,1302.5),(552.5,1302.5),(552.5,1172.5),(547.5,1167.5),(517.5,1167.5),(517.5,1227.5),(502.5,1227.5),(502.5,1167.5),(472.5,1167.5),(472.5,1227.5),(457.5,1227.5),(457.5,1167.5),(417.5,1167.5),(417.5,1212.5),(392.5,1212.5),(392.5,1022.5),(202.5,1022.5),(202.5,997.5),(247.5,997.5),(247.5,957.5),(187.5,957.5),(187.5,942.5),(247.5,942.5),(247.5,912.5),(187.5,912.5),(187.5,897.5),(247.5,897.5),(247.5,867.5),(242.5,862.5),(112.5,862.5),(112.5,997.5),(172.5,997.5),(172.5,1022.5),(-1.637,1022.5),(-1.637,997.5),(43.363,997.5),(43.363,957.5),(-16.637,957.5),(-16.637,942.5),(43.363,942.5),(43.363,912.5),(-16.637,912.5),(-16.637,897.5),(43.363,897.5),(43.363,867.5),(38.363,862.5),(-91.637,862.5),(-91.637,997.5),(-31.637,997.5),(-31.637,1022.5),(-166.637,1022.5),(-166.637,997.5),(-121.637,997.5),(-121.637,957.5),(-181.637,957.5),(-181.637,942.5),(-121.637,942.5),(-121.637,912.5),(-181.637,912.5),(-181.637,897.5),(-121.637,897.5),(-121.637,867.5),(-126.637,862.5),(-256.637,862.5),(-256.637,997.5),(-196.637,997.5),(-196.637,1022.5),(-322.5,1022.5),(-417.5,927.5),(-417.5,827.5),(-462.5,827.5),(-462.5,882.5),(-477.5,882.5),(-477.5,827.5)],
  [(847.5,827.5),(847.5,902.5),(902.5,902.5),(902.5,917.5),(847.5,917.5),(847.5,962.5),(947.5,962.5),(1042.5,1057.5),(1042.5,1222.5),(1017.5,1222.5),(1017.5,1162.5),(882.5,1162.5),(882.5,1292.5),(887.5,1297.5),(917.5,1297.5),(917.5,1237.5),(932.5,1237.5),(932.5,1297.5),(962.5,1297.5),(962.5,1237.5),(977.5,1237.5),(977.5,1297.5),(1017.5,1297.5),(1017.5,1252.5),(1042.5,1252.5),(1042.5,1552.5),(1017.5,1552.5),(1017.5,1492.5),(882.5,1492.5),(882.5,1622.5),(887.5,1627.5),(917.5,1627.5),(917.5,1567.5),(932.5,1567.5),(932.5,1627.5),(962.5,1627.5),(962.5,1567.5),(977.5,1567.5),(977.5,1627.5),(1017.5,1627.5),(1017.5,1582.5),(1042.5,1582.5),(1042.5,1772.5),(1402.5,1772.5),(1402.5,1797.5),(1357.5,1797.5),(1357.5,1837.5),(1417.5,1837.5),(1417.5,1852.5),(1357.5,1852.5),(1357.5,1882.5),(1417.5,1882.5),(1417.5,1897.5),(1357.5,1897.5),(1357.5,1927.5),(1362.5,1932.5),(1492.5,1932.5),(1492.5,1797.5),(1432.5,1797.5),(1432.5,1772.5),(1567.5,1772.5),(1567.5,1797.5),(1522.5,1797.5),(1522.5,1837.5),(1582.5,1837.5),(1582.5,1852.5),(1522.5,1852.5),(1522.5,1882.5),(1582.5,1882.5),(1582.5,1897.5),(1522.5,1897.5),(1522.5,1927.5),(1527.5,1932.5),(1657.5,1932.5),(1657.5,1797.5),(1597.5,1797.5),(1597.5,1772.5),(1792.5,1772.5),(1792.5,1441.908),(1817.5,1441.908),(1817.5,1501.908),(1952.5,1501.908),(1952.5,1371.908),(1947.5,1366.908),(1917.5,1366.908),(1917.5,1426.908),(1902.5,1426.908),(1902.5,1366.908),(1872.5,1366.908),(1872.5,1426.908),(1857.5,1426.908),(1857.5,1366.908),(1817.5,1366.908),(1817.5,1411.908),(1792.5,1411.908),(1792.5,1242.5),(1817.5,1242.5),(1817.5,1302.5),(1952.5,1302.5),(1952.5,1172.5),(1947.5,1167.5),(1917.5,1167.5),(1917.5,1227.5),(1902.5,1227.5),(1902.5,1167.5),(1872.5,1167.5),(1872.5,1227.5),(1857.5,1227.5),(1857.5,1167.5),(1817.5,1167.5),(1817.5,1212.5),(1792.5,1212.5),(1792.5,1022.5),(1602.5,1022.5),(1602.5,997.5),(1647.5,997.5),(1647.5,957.5),(1587.5,957.5),(1587.5,942.5),(1647.5,942.5),(1647.5,912.5),(1587.5,912.5),(1587.5,897.5),(1647.5,897.5),(1647.5,867.5),(1642.5,862.5),(1512.5,862.5),(1512.5,997.5),(1572.5,997.5),(1572.5,1022.5),(1398.363,1022.5),(1398.363,997.5),(1443.363,997.5),(1443.363,957.5),(1383.363,957.5),(1383.363,942.5),(1443.363,942.5),(1443.363,912.5),(1383.363,912.5),(1383.363,897.5),(1443.363,897.5),(1443.363,867.5),(1438.363,862.5),(1308.363,862.5),(1308.363,997.5),(1368.363,997.5),(1368.363,1022.5),(1233.363,1022.5),(1233.363,997.5),(1278.363,997.5),(1278.363,957.5),(1218.363,957.5),(1218.363,942.5),(1278.363,942.5),(1278.363,912.5),(1218.363,912.5),(1218.363,897.5),(1278.363,897.5),(1278.363,867.5),(1273.363,862.5),(1143.363,862.5),(1143.363,997.5),(1203.363,997.5),(1203.363,1022.5),(1077.5,1022.5),(982.5,927.5),(982.5,827.5),(937.5,827.5),(937.5,882.5),(922.5,882.5),(922.5,827.5)],
  [(-2542.5,-2054),(-2542.5,-2054),(-2542.5,-2054),(-2542.5,-2054)])
chip.add(gdstk.Reference(text, (-340,-2352)))
chip.add(gdstk.Reference(text, (-370,2302)))
r = gdstk.Reference(experimentalohmics_3, (-1900,-2100)); r.repetition = gdstk.Repetition(2, 2, v1=(3800,0), v2=(0,4200)); chip.add(r)
r = gdstk.Reference(experimentalohmics_3, (-1700,-2100)); r.repetition = gdstk.Repetition(2, 2, v1=(3400,0), v2=(0,4200)); chip.add(r)
r = gdstk.Reference(test_mesas, (-1800,-2100)); r.repetition = gdstk.Repetition(2, 2, v1=(3600,0), v2=(0,4200)); chip.add(r)
r = gdstk.Reference(c_50umsquares, (-3000,-3000)); r.repetition = gdstk.Repetition(2, 2, v1=(6000,0), v2=(0,6000)); chip.add(r)

lib.write_gds('chip.gds')
